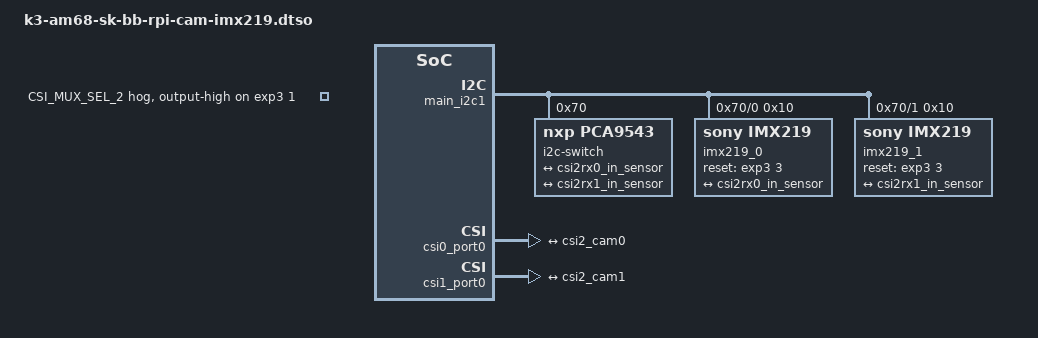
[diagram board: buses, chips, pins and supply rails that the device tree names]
// SPDX-License-Identifier: GPL-2.0
/**
 * DT Overlay for RPi Camera V2.1 (Sony IMX219) interfaced with CSI2 on AM68-SK board.
 * https://datasheets.raspberrypi.org/camera/camera-v2-schematic.pdf
 *
 * Copyright (C) 2023 Texas Instruments Incorporated - https://www.ti.com/
 */

/dts-v1/;
/plugin/;

#include <dt-bindings/gpio/gpio.h>
#include "k3-pinctrl.h"

&{/} {
	clk_imx219_fixed: imx219-xclk {
		compatible = "fixed-clock";
		#clock-cells = <0>;
		clock-frequency = <24000000>;
	};
};

&exp3 {
	p01-hog {
		/* CSI_MUX_SEL_2 */
		gpio-hog;
		gpios = <1 GPIO_ACTIVE_HIGH>;
		output-high;
		line-name = "CSI_MUX_SEL_2";
	};
};

&main_i2c1 {
	status = "okay";
	#address-cells = <1>;
	#size-cells = <0>;

	i2c-switch@70 {
		compatible = "nxp,pca9543";
		#address-cells = <1>;
		#size-cells = <0>;
		reg = <0x70>;

		i2c-alias-pool = /bits/ 16 <0x10 0x11>;

		/* CAM0 I2C */
		cam0_i2c: i2c@0 {
			#address-cells = <1>;
			#size-cells = <0>;
			reg = <0>;

			imx219_0: imx219_0@10 {
				compatible = "sony,imx219";
				reg = <0x10>;

				clocks = <&clk_imx219_fixed>;
				clock-names = "xclk";

				reset-gpios = <&exp3 3 GPIO_ACTIVE_HIGH>;

				port {
					csi2_cam0: endpoint {
						remote-endpoint = <&csi2rx0_in_sensor>;
						link-frequencies = /bits/ 64 <456000000>;
						clock-lanes = <0>;
						data-lanes = <1 2>;
					};
				};
			};
		};

		/* CAM1 I2C */
		cam1_i2c: i2c@1 {
			#address-cells = <1>;
			#size-cells = <0>;
			reg = <1>;

			imx219_1: imx219_1@10 {
				compatible = "sony,imx219";
				reg = <0x10>;

				clocks = <&clk_imx219_fixed>;
				clock-names = "xclk";

				reset-gpios = <&exp3 3 GPIO_ACTIVE_HIGH>;

				port {
					csi2_cam1: endpoint {
						remote-endpoint = <&csi2rx1_in_sensor>;
						link-frequencies = /bits/ 64 <456000000>;
						clock-lanes = <0>;
						data-lanes = <1 2>;
					};
				};
			};
		};
	};
};

&csi0_port0 {
	status = "okay";
	csi2rx0_in_sensor: endpoint {
		remote-endpoint = <&csi2_cam0>;
		bus-type = <4>; /* CSI2 DPHY. */
		clock-lanes = <0>;
		data-lanes = <1 2>;
	};
};

&csi1_port0 {
	status = "okay";
	csi2rx1_in_sensor: endpoint {
		remote-endpoint = <&csi2_cam1>;
		bus-type = <4>; /* CSI2 DPHY. */
		clock-lanes = <0>;
		data-lanes = <1 2>;
	};
};
